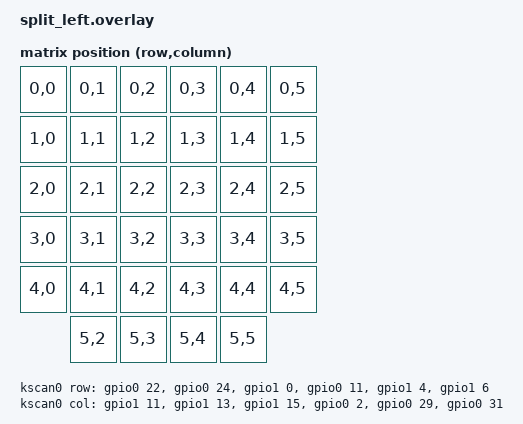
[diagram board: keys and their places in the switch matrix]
// split_left.overlay
/ {
    chosen {
        zmk,kscan            = &kscan0;
        zmk,matrix-transform = &left_transform;
    };

    kscan0: kscan {
        compatible = "zmk,kscan-gpio-matrix";

        /* ROWS, de sus în jos:
           R0 = P0.22 (D4)
           R1 = P0.24 (D5)
           R2 = P1.00 (D6)
           R3 = P0.11 (D7)
           R4 = P1.04 (D8)
           R5 = P1.06 (D9) (thumb-row) */
        row-gpios = <
            &gpio0 22 GPIO_ACTIVE_LOW   /* R0 = D4  */
            &gpio0 24 GPIO_ACTIVE_LOW   /* R1 = D5  */
            &gpio1  0 GPIO_ACTIVE_LOW   /* R2 = D6  */
            &gpio0 11 GPIO_ACTIVE_LOW   /* R3 = D7  */
            &gpio1  4 GPIO_ACTIVE_LOW   /* R4 = D8  */
            &gpio1  6 GPIO_ACTIVE_LOW   /* R5 = D9  */
        >;

        /* COLS, stânga → dreapta:
           C0 = P1.11 (D14)
           C1 = P1.13 (D15)
           C2 = P1.15 (D18)
           C3 = P0.02 (D19)
           C4 = P0.29 (D20)
           C5 = P0.31 (D21) */
        col-gpios = <
            &gpio1 11 GPIO_ACTIVE_LOW   /* C0 = D14 */
            &gpio1 13 GPIO_ACTIVE_LOW   /* C1 = D15 */
            &gpio1 15 GPIO_ACTIVE_LOW   /* C2 = D18 */
            &gpio0  2 GPIO_ACTIVE_LOW   /* C3 = D19 */
            &gpio0 29 GPIO_ACTIVE_LOW   /* C4 = D20 */
            &gpio0 31 GPIO_ACTIVE_LOW   /* C5 = D21 */
        >;

        diode-direction      = COL2ROW;
        debounce-press-ms    = <1>;
        debounce-release-ms  = <5>;
    };

    left_transform: matrix_transform {
        compatible = "zmk,matrix-transform";
        rows    = <6>;
        columns = <6>;

        /*
          Layout fizic (6×6), cu R5,C0 și R5,C1 fiind NC (no-connect):

               C0     C1     C2     C3     C4     C5
               │      │      │      │      │      │
          R0 — ( ~ )— ( 1 )— ( 2 )— ( 3 )— ( 4 )— ( 5 )
               │      │      │      │      │      │
          R1 — (Tab)— ( Q )— ( W )— ( E )— ( R )— ( T )
               │      │      │      │      │      │
          R2 — (Caps)-( A )— ( S )— ( D )— ( F )— ( G )
               │      │      │      │      │      │
          R3 — (LSFT)-( Z )— ( X )— ( C )— ( V )— ( B )
               │      │      │      │      │      │
          R4 — (Ctrl)-(Alt)-(← )— (→ )— (Spc)— (Esc)
               │      │      │      │      │      │
          R5 —  NC   —  NC   — (LGUI)—(NAV)—(SYM)—(Esc)
        */

        map = <
            /* R0 */  RC(0,0) RC(0,1) RC(0,2) RC(0,3) RC(0,4) RC(0,5)
            /* R1 */  RC(1,0) RC(1,1) RC(1,2) RC(1,3) RC(1,4) RC(1,5)
            /* R2 */  RC(2,0) RC(2,1) RC(2,2) RC(2,3) RC(2,4) RC(2,5)
            /* R3 */  RC(3,0) RC(3,1) RC(3,2) RC(3,3) RC(3,4) RC(3,5)
            /* R4 */  RC(4,0) RC(4,1) RC(4,2) RC(4,3) RC(4,4) RC(4,5)
            /* R5 */            RC(5,2) RC(5,3) RC(5,4) RC(5,5)
        >;
    };
};
